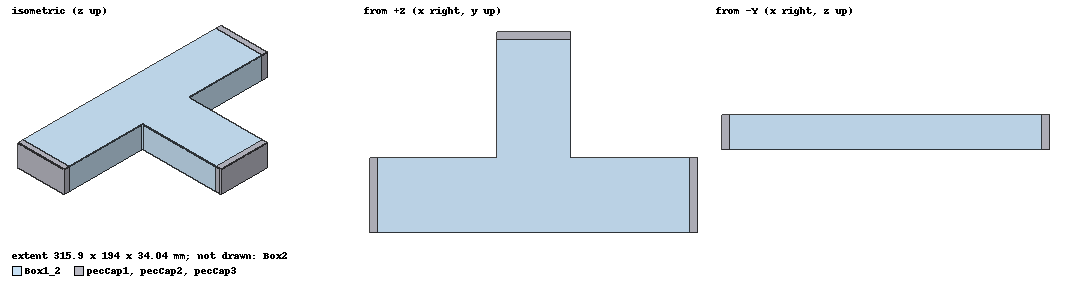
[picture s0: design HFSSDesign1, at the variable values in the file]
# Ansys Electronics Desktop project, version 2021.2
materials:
  vacuum: permittivity=1
  pec: conductivity=1e+30

design HFSSDesign1 (HFSS, DrivenModal, model units mm)
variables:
  a = 72.136mm
  b = 34.036mm
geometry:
  Box1 = box(corner=(-a/2, -b/2, 0mm), size=(a, b, 150mm))
  Box1_1 = Box1.duplicate_around_axis(axis=Y, angle=90deg, total=2)
  Box1_2 [vacuum] = Box1.duplicate_around_axis(axis=Y, angle=-90deg, total=2)
  Box1_2.unite(Box1, Box1_1)
  Box1_2.rotate(axis=X, angle=-90deg)
  Box2 [vacuum] = box(corner=(-180mm, -100mm, -70mm), size=(380mm, 400mm, 140mm))
  pecCap1 [pec] = sweep_along_normal(Box1_2.face(1 of 6), length=7.97mm)
  pecCap2 [pec] = sweep_along_normal(Box1_2.face(1 of 6), length=7.97mm)
  pecCap3 [pec] = sweep_along_normal(Box1_2.face(1 of 6), length=7.97mm)
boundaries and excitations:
  PerfE1: Perfect E Objects=Box1_2
  Rad1: Radiation Objects=Box2
  1: Wave Port Faces=Box1_2.face(1 of 6) NumModes=1 Modes{Mode1{IntLine{middle of Box1_2.edge(4 of 12) -> middle of Box1_2.edge(2 of 12)} CharImp=Zpi}}
  2: Wave Port Faces=Box1_2.face(1 of 6) NumModes=1 Modes{Mode1{IntLine{middle of Box1_2.edge(4 of 12) -> middle of Box1_2.edge(2 of 12)} CharImp=Zpi}}
  3: Wave Port Faces=Box1_2.face(1 of 6) NumModes=1 Modes{Mode1{IntLine{middle of Box1_2.edge(4 of 12) -> middle of Box1_2.edge(2 of 12)} CharImp=Zpi}}
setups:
  Setup1: HfssDriven MultipleAdaptiveFreqsSetup{Low=2GHz High=4.5GHz} MaxDeltaS=0.02 MaximumPasses=20 MinimumPasses=1 MinimumConvergedPasses=1 PercentRefinement=30 BasisOrder=1 PortAccuracy=2
    sweep Sweep: 2GHz to 4.5GHz, 401 points; Type=Interpolating InterpTolerance=0.5 InterpMaxSolns=250 InterpUsePortImped=false PassivityErrorTolerance=0.0001
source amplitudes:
  1:1: 1W 0deg
  2:1, 3:1: 0W 0deg
